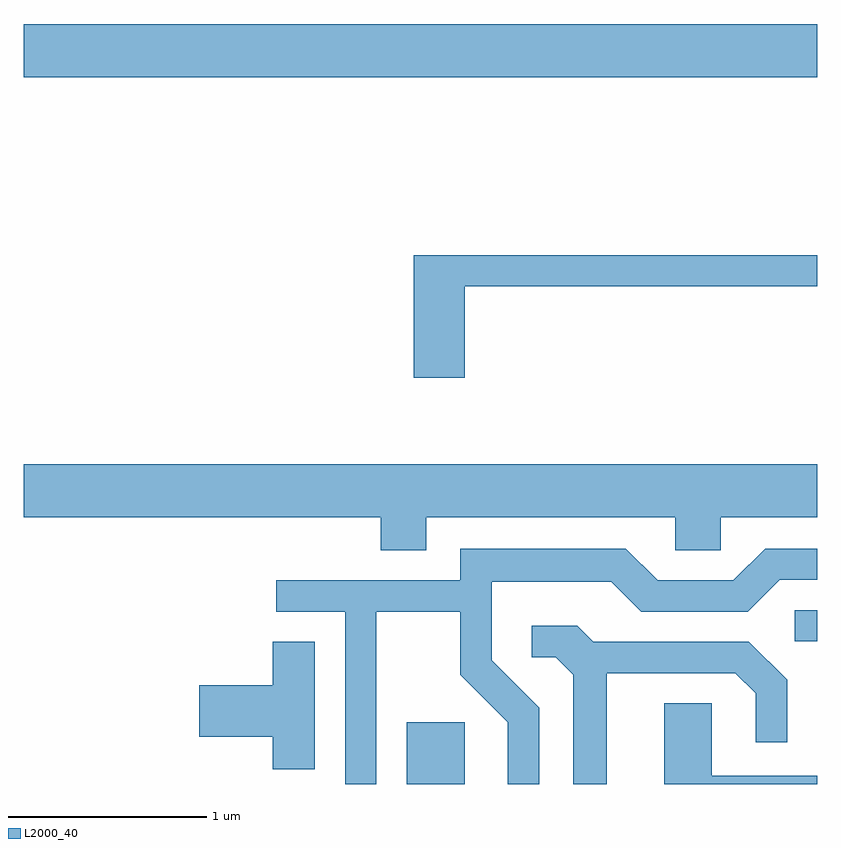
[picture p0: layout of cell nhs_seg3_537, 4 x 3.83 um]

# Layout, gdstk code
import gdstk
lib = gdstk.Library(unit=1e-6, precision=1e-09)
def R(c, l, rs):  # rectangles x0, y0, x1, y1
    for r in rs: c.add(gdstk.rectangle(r[:2], r[2:], *l))
def P(c, l, *ps):  # polygons
    for p in ps: c.add(gdstk.Polygon(p, *l))
L2000_40 = (2000, 40)

nhs_seg3_537 = lib.new_cell('nhs_seg3_537')
R(nhs_seg3_537, L2000_40, [(201.541,1237.892,201.834,1238.204), (203.498,1238.611,203.611,1238.769), (199.611,1241.456,203.611,1241.724)])
P(nhs_seg3_537, L2000_40, [(201.834,1240.401),(203.611,1240.401),(203.611,1240.559),(201.576,1240.559),(201.576,1239.941),(201.834,1239.941)],
  [(201.639,1239.236),(202.896,1239.236),(202.896,1239.071),(203.124,1239.071),(203.124,1239.236),(203.611,1239.236),(203.611,1239.504),(199.611,1239.504),(199.611,1239.236),(201.411,1239.236),(201.411,1239.071),(201.639,1239.071)],
  [(201.389,1238.761),(201.811,1238.761),(201.811,1238.444),(202.051,1238.204),(202.051,1237.892),(202.209,1237.892),(202.209,1238.277),(201.969,1238.517),(201.969,1238.911),(202.574,1238.911),(202.724,1238.761),(203.262,1238.761),(203.422,1238.921),(203.611,1238.921),(203.611,1239.079),(203.349,1239.079),(203.189,1238.919),(202.807,1238.919),(202.647,1239.079),(201.811,1239.079),(201.811,1238.919),(200.883,1238.919),(200.883,1238.761),(201.231,1238.761),(201.231,1237.892),(201.389,1237.892)],
  [(202.549,1238.451),(203.199,1238.451),(203.301,1238.349),(203.301,1238.103),(203.459,1238.103),(203.459,1238.417),(203.267,1238.609),(202.482,1238.609),(202.402,1238.689),(202.173,1238.689),(202.173,1238.531),(202.294,1238.531),(202.381,1238.444),(202.381,1237.892),(202.549,1237.892)],
  [(201.079,1238.609),(200.866,1238.609),(200.866,1238.389),(200.496,1238.389),(200.496,1238.131),(200.866,1238.131),(200.866,1237.966),(201.079,1237.966)],
  [(203.611,1237.934),(203.079,1237.934),(203.079,1238.299),(202.841,1238.299),(202.841,1237.892),(203.611,1237.892)])

lib.write_gds('nhs_seg3_537.gds')
